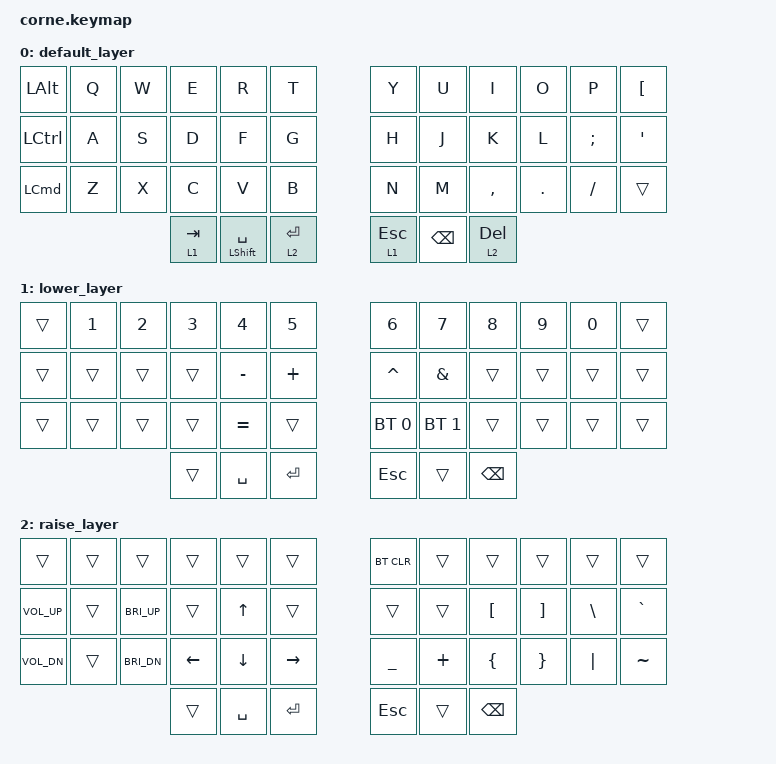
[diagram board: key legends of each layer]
/*
 * Copyright (c) 2020 The ZMK Contributors
 *
 * SPDX-License-Identifier: MIT
 */

#include <behaviors.dtsi>
#include <dt-bindings/zmk/keys.h>
#include <dt-bindings/zmk/bt.h>




/ {
        keymap {
                compatible = "zmk,keymap";

                default_layer {
                        bindings = <
                  &kp LALT &kp Q &kp W &kp E &kp R &kp T    &kp Y &kp U &kp I &kp O &kp P &kp LBKT
                 &kp LCTRL &kp A &kp S &kp D &kp F &kp G    &kp H &kp J &kp K &kp L &kp SEMI &kp SQT
                  &kp LCMD &kp Z &kp X &kp C &kp V &kp B    &kp N &kp M &kp COMMA &kp DOT &kp FSLH &trans
                   &lt 1 TAB &mt LSHFT SPACE &lt 2 ENTER    &lt 1 ESC &kp BSPC &lt 2 DEL
                        >;
                };

                lower_layer {
                        bindings = <
               &trans &kp N1 &kp N2 &kp N3 &kp N4 &kp N5    &kp N6 &kp N7 &kp N8 &kp N9 &kp N0 &trans
          &trans &trans &trans &trans &kp MINUS &kp PLUS    &kp CARET &kp AMPS &trans &trans &trans &trans
            &trans &trans &trans &trans &kp EQUAL &trans    &bt BT_SEL 0 &bt BT_SEL 1 &trans &trans &trans &trans
                              &trans &kp SPACE &kp ENTER    &kp ESC &trans &kp BSPC
                        >;
                };

                raise_layer {
                        bindings = <
                      &trans &trans &trans &trans &trans &trans    &bt BT_CLR &trans &trans &trans &trans &trans
          &kp C_VOL_UP &trans &kp C_BRI_UP &trans &kp UP &trans    &trans &trans &kp LBKT &kp RBKT &kp BSLH &kp GRAVE
   &kp C_VOL_DN &trans &kp C_BRI_DN &kp LEFT &kp DOWN &kp RIGHT    &kp UNDER &kp PLUS &kp LBRC &kp RBRC &kp PIPE &kp TILDE
                                     &trans &kp SPACE &kp ENTER    &kp ESC &trans &kp BSPC
                        >;
                };
        };
};
